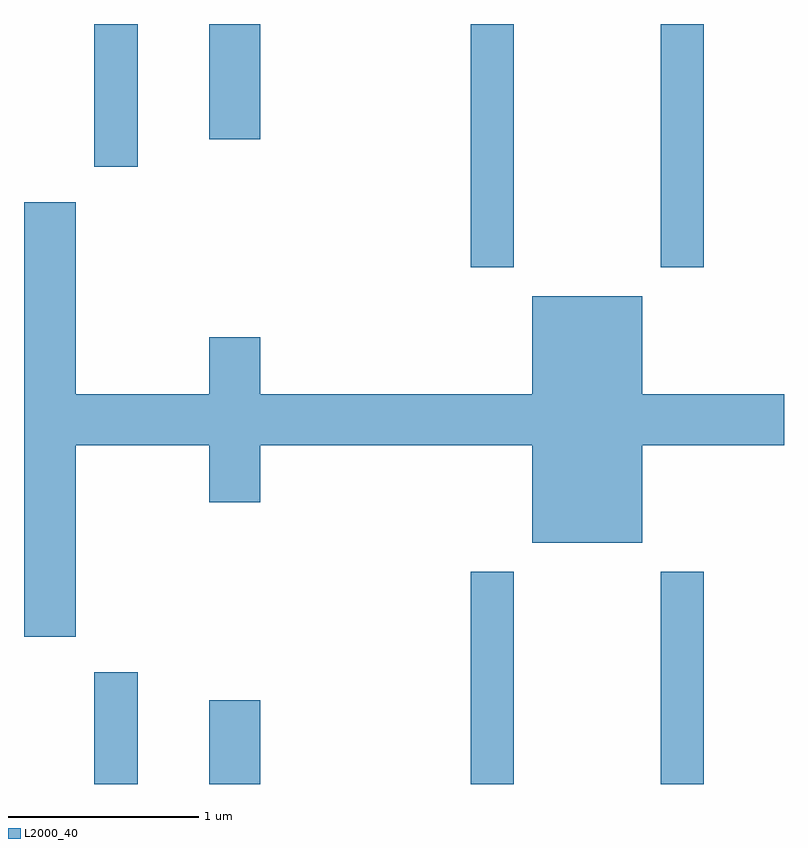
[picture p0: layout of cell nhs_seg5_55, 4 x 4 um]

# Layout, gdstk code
import gdstk
lib = gdstk.Library(unit=1e-6, precision=1e-09)
def R(c, l, rs):  # rectangles x0, y0, x1, y1
    for r in rs: c.add(gdstk.rectangle(r[:2], r[2:], *l))
def P(c, l, *ps):  # polygons
    for p in ps: c.add(gdstk.Polygon(p, *l))
L2000_40 = (2000, 40)

nhs_seg5_55 = lib.new_cell('nhs_seg5_55')
R(nhs_seg5_55, L2000_40, [(185.981,1506.072,186.209,1506.659), (186.586,1506.072,186.854,1506.514), (187.961,1506.072,188.189,1507.189), (188.961,1506.072,189.189,1507.189), (187.961,1508.791,188.189,1510.072), (188.961,1508.791,189.189,1510.072), (185.981,1509.321,186.209,1510.072), (186.586,1509.466,186.854,1510.072)])
P(nhs_seg5_55, L2000_40, [(185.884,1507.856),(186.586,1507.856),(186.586,1507.556),(186.854,1507.556),(186.854,1507.856),(188.286,1507.856),(188.286,1507.341),(188.864,1507.341),(188.864,1507.856),(189.611,1507.856),(189.611,1508.124),(188.864,1508.124),(188.864,1508.639),(188.286,1508.639),(188.286,1508.124),(186.854,1508.124),(186.854,1508.424),(186.586,1508.424),(186.586,1508.124),(185.884,1508.124),(185.884,1509.134),(185.611,1509.134),(185.611,1506.846),(185.884,1506.846)])

lib.write_gds('nhs_seg5_55.gds')
